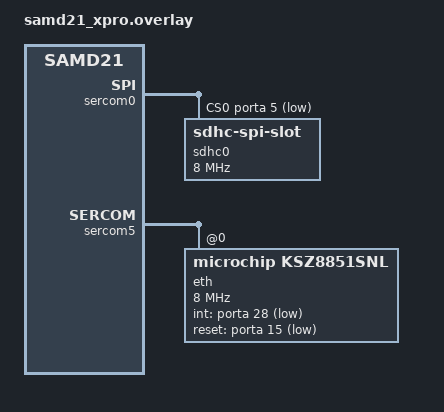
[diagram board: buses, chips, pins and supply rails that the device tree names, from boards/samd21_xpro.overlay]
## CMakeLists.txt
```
cmake_minimum_required(VERSION 3.20.0)

find_package(Zephyr REQUIRED HINTS $ENV{ZEPHYR_BASE})

project(servidor_sd LANGUAGES C)

target_sources(app PRIVATE src/main.c)
```

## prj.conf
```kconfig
CONFIG_PRINTK=y
CONFIG_LOG=y
CONFIG_LOG_MODE_MINIMAL=y

CONFIG_GPIO=y
CONFIG_SPI=y

# SD por SPI: o driver SDHC SPI e o disco SDMMC ligam sozinhos a partir do
# devicetree, mas os menus precisam estar habilitados.
CONFIG_SDHC=y
CONFIG_DISK_DRIVERS=y
CONFIG_DISK_ACCESS=y

CONFIG_FILE_SYSTEM=y
CONFIG_FAT_FILESYSTEM_ELM=y
# Nunca formatar o cartão se a montagem falhar (apagaria os dados)
CONFIG_FS_FATFS_MOUNT_MKFS=n
# Cada arquivo aberto reserva ~550 B de RAM; o teste só usa um por vez
CONFIG_FS_FATFS_NUM_FILES=2
CONFIG_FS_FATFS_NUM_DIRS=1

# snprintf com %f para temp_c e accel
CONFIG_PICOLIBC_IO_FLOAT=y

CONFIG_MAIN_STACK_SIZE=2048
CONFIG_STACK_SENTINEL=y
```

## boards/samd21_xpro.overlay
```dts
/*
 * SAM D21 Xplained Pro com:
 *   - IO1 Xplained Pro (microSD) no EXT1, SPI no SERCOM0
 *   - Ethernet1 Xplained Pro (KSZ8851SNL) no EXT3, SPI no SERCOM5
 *
 * A Ethernet não é usada neste teste, mas fica declarada para validar que os
 * dois barramentos convivem sem conflito de pinos, como no servidor final.
 *
 * EXT1 (IO1):
 *   PA05 -> SD CS
 *   PA06 -> MOSI  (SERCOM0 PAD2)
 *   PA04 -> MISO  (SERCOM0 PAD0)
 *   PA07 -> SCK   (SERCOM0 PAD3)
 *
 * EXT3 (Ethernet1):
 *   PB17 -> CS
 *   PB22 -> MOSI
 *   PB16 -> MISO
 *   PB23 -> SCK
 *   PA28 -> INTRN
 *   PA15 -> nRST
 */

&pinctrl {
	sercom0_spi_ext1: sercom0_spi_ext1 {
		group1 {
			pinmux = <PA4D_SERCOM0_PAD0>,
				 <PA6D_SERCOM0_PAD2>,
				 <PA7D_SERCOM0_PAD3>;
		};
	};

	sercom5_spi_ext3: sercom5_spi_ext3 {
		group1 {
			pinmux = <PB16C_SERCOM5_PAD0>,
				 <PB22D_SERCOM5_PAD2>,
				 <PB23D_SERCOM5_PAD3>;
		};
	};
};

/* PB30 e PA15 são compartilhados com dispositivos da placa. */
/delete-node/ &pwm_led0;
/delete-node/ &led0;
/delete-node/ &user_button;

/ {
	aliases {
		/delete-property/ led0;
		/delete-property/ pwm-led0;
		/delete-property/ sw0;
	};
};

&tcc0 {
	status = "disabled";
};

/* Na placa o SERCOM0 vem declarado como UART; aqui vira o SPI do EXT1 */
&sercom0 {
	compatible = "atmel,sam0-spi";
	/delete-property/ current-speed;
	/delete-property/ rxpo;
	/delete-property/ txpo;
	status = "okay";
	#address-cells = <1>;
	#size-cells = <0>;
	dipo = <0>;
	dopo = <1>;
	pinctrl-0 = <&sercom0_spi_ext1>;
	cs-gpios = <&porta 5 GPIO_ACTIVE_LOW>;

	sdhc0: sdhc@0 {
		compatible = "zephyr,sdhc-spi-slot";
		reg = <0>;
		status = "okay";
		spi-max-frequency = <8000000>;

		mmc {
			compatible = "zephyr,sdmmc-disk";
			disk-name = "SD";
			status = "okay";
		};
	};
};

&sercom5 {
	status = "okay";
	dipo = <0>;
	dopo = <1>;
	pinctrl-0 = <&sercom5_spi_ext3>;
	cs-gpios = <&portb 17 GPIO_ACTIVE_LOW>,
		   <&porta 13 GPIO_ACTIVE_LOW>;

	eth: ksz8851snl@0 {
		compatible = "microchip,ksz8851snl";
		reg = <0>;
		spi-max-frequency = <8000000>;
		int-gpios = <&porta 28 GPIO_ACTIVE_LOW>;
		reset-gpios = <&porta 15 GPIO_ACTIVE_LOW>;
		local-mac-address = [02 00 00 00 00 0c];
	};
};
```

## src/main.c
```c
#include <zephyr/kernel.h>
#include <zephyr/fs/fs.h>
#include <zephyr/sys/printk.h>
#include <ff.h>
#include <stdio.h>

#define PONTO_MONTAGEM "/SD:"
#define ARQUIVO PONTO_MONTAGEM "/LEITURAS.CSV"
#define CABECALHO "recebido_ms,node_id,light,temp_c,accel_x,accel_y,accel_z,last_seen_ms\n"
#define N_LINHAS 10

/* Mesmo formato de um item do GET /sensors do gateway */
struct leitura {
	uint8_t node_id;
	uint16_t light;
	float temp_c;
	float accel[3];
	uint32_t last_seen_ms;
};

static FATFS fat_fs;
static struct fs_mount_t montagem = {
	.type = FS_FATFS,
	.fs_data = &fat_fs,
	.mnt_point = PONTO_MONTAGEM,
	.flags = FS_MOUNT_FLAG_NO_FORMAT,
};

static int escrever_cabecalho_se_vazio(struct fs_file_t *arq)
{
	struct fs_dirent info;
	int ret = fs_stat(ARQUIVO, &info);

	if (ret < 0) {
		return ret;
	}
	if (info.size > 0) {
		printk("Arquivo ja existe (%u bytes), acrescentando linhas\r\n",
		       (uint32_t)info.size);
		return 0;
	}

	ret = fs_write(arq, CABECALHO, sizeof(CABECALHO) - 1);
	return ret < 0 ? ret : 0;
}

static int gravar_leitura(struct fs_file_t *arq, const struct leitura *l)
{
	char linha[96];
	int n;
	ssize_t escrito;

	n = snprintf(linha, sizeof(linha), "%u,%d,%d,%.2f,%.3f,%.3f,%.3f,%u\n",
		     (uint32_t)k_uptime_get(), l->node_id, l->light,
		     (double)l->temp_c, (double)l->accel[0],
		     (double)l->accel[1], (double)l->accel[2],
		     l->last_seen_ms);

	escrito = fs_write(arq, linha, n);
	if (escrito != n) {
		return escrito < 0 ? (int)escrito : -EIO;
	}

	/* Garante que a linha chegou ao cartão mesmo se a placa reiniciar */
	return fs_sync(arq);
}

static void mostrar_arquivo(void)
{
	struct fs_file_t arq;
	char buf[64];
	ssize_t lido;

	fs_file_t_init(&arq);
	if (fs_open(&arq, ARQUIVO, FS_O_READ) < 0) {
		printk("Falha ao reabrir %s para leitura\r\n", ARQUIVO);
		return;
	}

	printk("\r\n--- conteudo de %s ---\r\n", ARQUIVO);
	while ((lido = fs_read(&arq, buf, sizeof(buf))) > 0) {
		printk("%.*s", (int)lido, buf);
	}
	printk("--- fim ---\r\n");

	fs_close(&arq);
}

int main(void)
{
	struct fs_file_t arq;
	int ret;

	printk("\r\nTeste microSD (IO1 no EXT1)\r\n");

	ret = fs_mount(&montagem);
	if (ret < 0) {
		printk("Falha ao montar o SD (%d)\r\n", ret);
		printk("Confira: cartao inserido, IO1 no EXT1, cartao em FAT32\r\n");
		return 0;
	}
	printk("SD montado em %s\r\n", PONTO_MONTAGEM);

	fs_file_t_init(&arq);
	ret = fs_open(&arq, ARQUIVO, FS_O_CREATE | FS_O_WRITE | FS_O_APPEND);
	if (ret < 0) {
		printk("Falha ao abrir %s (%d)\r\n", ARQUIVO, ret);
		return 0;
	}

	ret = escrever_cabecalho_se_vazio(&arq);
	if (ret < 0) {
		printk("Falha ao escrever o cabecalho (%d)\r\n", ret);
		fs_close(&arq);
		return 0;
	}

	for (int i = 0; i < N_LINHAS; i++) {
		/* Dados fictícios: 3 nós alternando */
		struct leitura l = {
			.node_id = 1 + (i % 3),
			.light = 300 + 7 * i,
			.temp_c = 24.5f + 0.1f * i,
			.accel = { 0.01f, 0.02f, 9.8f },
			.last_seen_ms = (uint32_t)k_uptime_get() - 100,
		};

		ret = gravar_leitura(&arq, &l);
		if (ret < 0) {
			printk("Falha ao gravar a linha %d (%d)\r\n", i + 1, ret);
			break;
		}
		printk("Linha %d/%d gravada (no %d)\r\n", i + 1, N_LINHAS,
		       l.node_id);
		k_sleep(K_SECONDS(2));
	}

	fs_close(&arq);
	mostrar_arquivo();

	fs_unmount(&montagem);
	printk("SD desmontado, pode remover o cartao\r\n");

	return 0;
}
```
